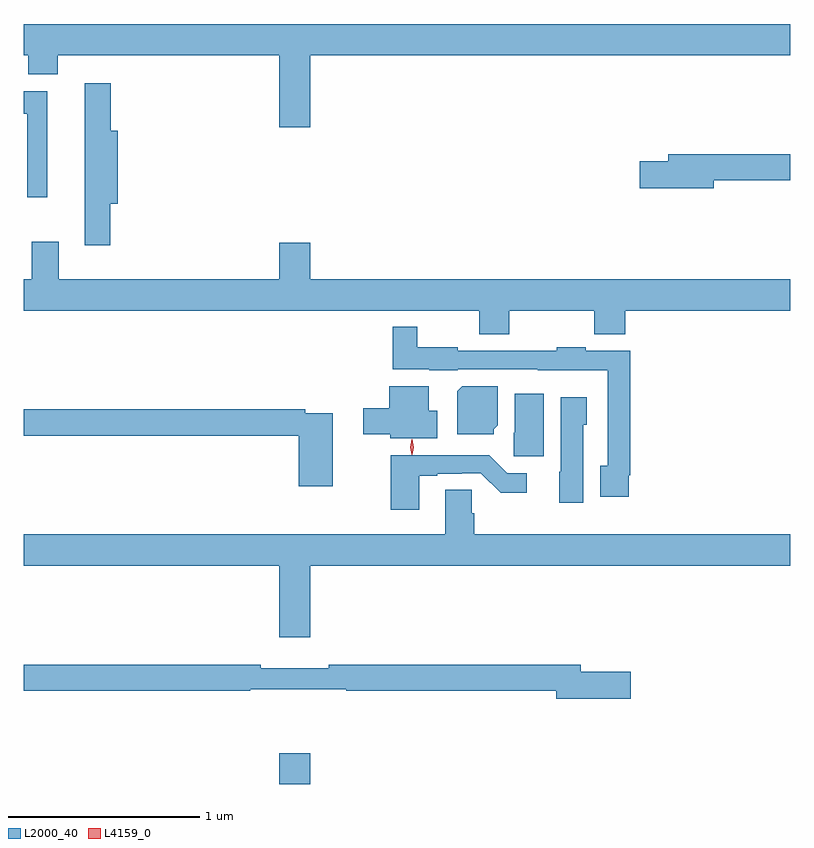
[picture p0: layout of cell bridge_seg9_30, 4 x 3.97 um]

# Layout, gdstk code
import gdstk
lib = gdstk.Library(unit=1e-6, precision=1e-09)
def R(c, l, rs):  # rectangles x0, y0, x1, y1
    for r in rs: c.add(gdstk.rectangle(r[:2], r[2:], *l))
def P(c, l, *ps):  # polygons
    for p in ps: c.add(gdstk.Polygon(p, *l))
L2000_40 = (2000, 40)
L4159_0 = (4159, 0)

bridge_seg9_30 = lib.new_cell('bridge_seg9_30')
R(bridge_seg9_30, L2000_40, [(944.228,1208.601,944.392,1208.761)])
P(bridge_seg9_30, L2000_40, [(944.392,1212.404),(946.896,1212.404),(946.896,1212.568),(942.896,1212.568),(942.896,1212.404),(942.92,1212.404),(942.92,1212.305),(943.073,1212.305),(943.073,1212.404),(944.228,1212.404),(944.228,1212.03),(944.392,1212.03)],
  [(943.346,1211.63),(943.385,1211.63),(943.385,1212.01),(943.349,1212.01),(943.349,1212.259),(943.214,1212.259),(943.214,1211.412),(943.346,1211.412)],
  [(943.018,1212.216),(942.896,1212.216),(942.896,1212.1),(942.914,1212.1),(942.914,1211.664),(943.018,1211.664)],
  [(946.498,1211.752),(946.896,1211.752),(946.896,1211.888),(946.259,1211.888),(946.259,1211.852),(946.11,1211.852),(946.11,1211.71),(946.498,1211.71)],
  [(944.228,1211.425),(944.228,1211.236),(943.078,1211.236),(943.078,1211.431),(942.938,1211.431),(942.938,1211.236),(942.896,1211.236),(942.896,1211.072),(945.274,1211.072),(945.274,1210.948),(945.429,1210.948),(945.429,1211.072),(945.874,1211.072),(945.874,1210.948),(946.034,1210.948),(946.034,1211.072),(946.896,1211.072),(946.896,1211.236),(944.392,1211.236),(944.392,1211.425)],
  [(946.054,1210.213),(946.061,1210.213),(946.061,1210.863),(945.828,1210.863),(945.828,1210.881),(945.678,1210.881),(945.678,1210.863),(945.162,1210.863),(945.162,1210.882),(944.95,1210.882),(944.95,1210.987),(944.821,1210.987),(944.821,1210.766),(945.012,1210.766),(945.012,1210.76),(945.162,1210.76),(945.162,1210.767),(945.579,1210.767),(945.579,1210.76),(945.945,1210.76),(945.945,1210.262),(945.905,1210.262),(945.905,1210.101),(946.054,1210.101)],
  [(945.348,1210.452),(945.37,1210.474),(945.37,1210.678),(945.184,1210.678),(945.158,1210.652),(945.158,1210.427),(945.348,1210.427)],
  [(945.055,1210.549),(945.01,1210.549),(945.01,1210.676),(944.804,1210.676),(944.804,1210.562),(944.667,1210.562),(944.667,1210.427),(944.808,1210.427),(944.808,1210.406),(945.055,1210.406)],
  [(945.61,1210.639),(945.458,1210.639),(945.458,1210.434),(945.454,1210.434),(945.454,1210.311),(945.61,1210.311)],
  [(945.817,1210.476),(945.835,1210.476),(945.835,1210.621),(945.698,1210.621),(945.698,1210.23),(945.692,1210.23),(945.692,1210.068),(945.817,1210.068)],
  [(944.508,1210.536),(944.366,1210.536),(944.366,1210.556),(942.896,1210.556),(942.896,1210.42),(944.33,1210.42),(944.33,1210.155),(944.508,1210.155)],
  [(944.959,1210.209),(945.055,1210.209),(945.055,1210.221),(945.182,1210.221),(945.182,1210.224),(945.282,1210.224),(945.385,1210.122),(945.52,1210.122),(945.52,1210.224),(945.42,1210.224),(945.326,1210.318),(944.812,1210.318),(944.812,1210.032),(944.959,1210.032)],
  [(944.392,1209.74),(946.896,1209.74),(946.896,1209.904),(945.248,1209.904),(945.248,1210.014),(945.234,1210.014),(945.234,1210.136),(945.095,1210.136),(945.095,1209.904),(942.896,1209.904),(942.896,1209.74),(944.228,1209.74),(944.228,1209.366),(944.392,1209.366)],
  [(946.063,1209.188),(945.802,1209.188),(945.802,1209.224),(944.488,1209.224),(944.488,1209.205),(944.132,1209.205),(944.132,1209.224),(942.896,1209.224),(942.896,1209.088),(944.077,1209.088),(944.077,1209.096),(944.578,1209.096),(944.578,1209.088),(945.674,1209.088),(945.674,1209.046),(946.063,1209.046)])
P(bridge_seg9_30, L4159_0, [(944.922,1210.319),(944.922,1210.319),(944.913,1210.36),(944.922,1210.401),(944.923,1210.401),(944.923,1210.401),(944.932,1210.36),(944.923,1210.319)])

lib.write_gds('bridge_seg9_30.gds')
